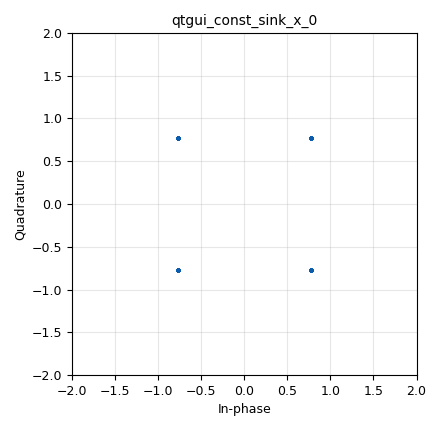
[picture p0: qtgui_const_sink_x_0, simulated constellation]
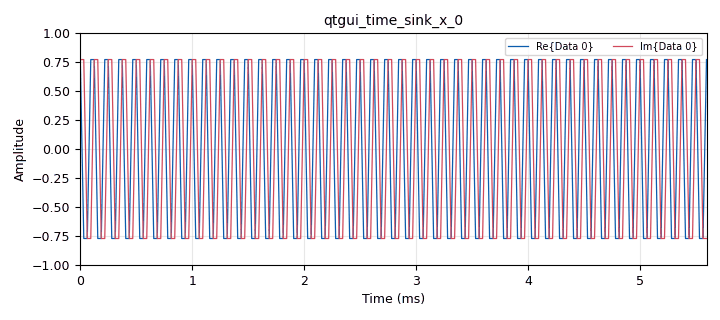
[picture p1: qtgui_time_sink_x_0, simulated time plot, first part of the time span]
options:
  parameters:
    author: Usuario
    generate_options: qt_gui
    id: M_PSK
    output_language: python
    title: Practica_4
  states: {}

blocks:
- name: M
  id: variable
  parameters:
    value: len(tabla_de_verdad_constelacion)
  states: {}
- name: Rb
  id: variable
  parameters:
    value: Rs
  states: {}
- name: Rs
  id: variable
  parameters:
    value: '32000'
  states: {}
- name: bps
  id: variable
  parameters:
    value: math.log(M,2)
  states: {}
- name: tabla_de_verdad_constelacion
  id: variable
  parameters:
    value: (0.77+0.77j, -0.77+0.77j, -0.77-0.77j, 0.77-0.77j)
  states: {}
- name: blocks_vector_source_x_0
  id: blocks_vector_source_x
  parameters:
    repeat: 'True'
    type: int
    vector: (0, 1, 2, 3)
  states: {}
- name: digital_chunks_to_symbols_xx_0
  id: digital_chunks_to_symbols_xx
  parameters:
    dimension: '1'
    in_type: int
    out_type: complex
    symbol_table: tabla_de_verdad_constelacion
  states: {}
- name: import_0
  id: import
  parameters:
    imports: import math
  states: {}
- name: qtgui_const_sink_x_0
  id: qtgui_const_sink_x
  parameters:
    size: '1024'
    type: complex
  states: {}
- name: qtgui_time_sink_x_0
  id: qtgui_time_sink_x
  parameters:
    size: '1024'
    srate: Rs
    type: complex
  states: {}

connections:
- [blocks_vector_source_x_0, '0', digital_chunks_to_symbols_xx_0, '0']
- [digital_chunks_to_symbols_xx_0, '0', qtgui_const_sink_x_0, '0']
- [digital_chunks_to_symbols_xx_0, '0', qtgui_time_sink_x_0, '0']

metadata:
  file_format: 1
  grc_version: 3.10.12.0
